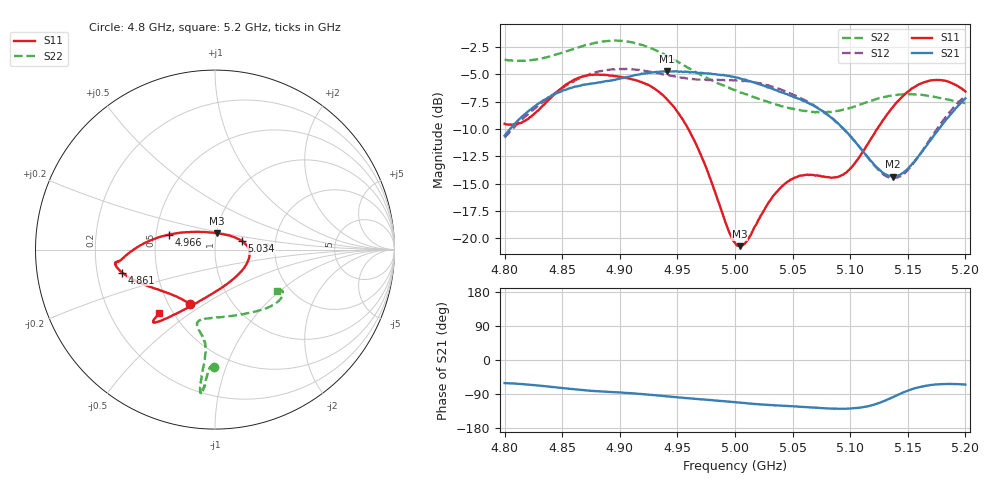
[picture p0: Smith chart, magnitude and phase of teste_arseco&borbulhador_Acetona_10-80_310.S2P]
! Network Analyzer HP8722D
! Hewlett-Packard
! Data name: Linha & Wilkinson
! Saver's name: Rodrigo Anjos
! Comments: Teste da utilização de aquisição
! continua pelo VNA HP8722D
! Time and date: 17/4/2025 16:56
!  Frequency  S11  S21  S12  S22
# HZ  S  MA R 50
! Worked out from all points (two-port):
!   401 points, 4.8 GHz to 5.2 GHz, reference 50 ohm
!   highest |S21| = -4.70 dB at 4.941 GHz (marker M1); lowest = -14.3 dB at 5.137 GHz (marker M2)
!   |S21| within 3 dB of the highest: 4.829 GHz to 5.065 GHz (236 MHz wide, 4.77 % of centre); 5.194974 GHz to end of sweep
!   lowest |S11| = -20.7 dB at 5.004 GHz (marker M3), VSWR 1.20, Z = 50.3 + j9.29 ohm
!   |S11| at or under -10 dB: 4.96 GHz to 5.123 GHz (163.8 MHz wide, 3.25 % of centre)
!   |S22| runs from -8.5 to -1.9 dB; largest |S21 - S12| = 0.87
!   S11 on the Smith chart (normalised r, x): 4.8 GHz: 0.64, -0.44; 4.861 GHz: 0.31, -0.11; 4.966 GHz: 0.58, +0.10; 5.034 GHz: 1.35, +0.13; 5.2 GHz: 0.42, -0.38
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4.8e9  0.3345 -114.3  0.2951 -61.0  0.2892 -175.2  0.6556 -90.3
4.819e9  0.3491 -134.3  0.3756 -64.6  0.364 -174.1  0.6504 -91.9
4.861e9  0.5338 -166.1  0.4952 -77.6  0.5273 -177.3  0.738 -94.3
4.867e9  0.5487 -168.5  0.502 -79.3  0.5462 -178.6  0.7558 -94.4
4.898e9  0.5501 -172.9  0.5356 -85.2  0.5941 175.2  0.8015 -95.6
4.934e9  0.4686 -178.7  0.5775 -93.9  0.5701 171.4  0.7133 -96.0
4.941e9  0.433 178.2  0.5818 -95.9  0.559 171.5  0.6846 -95.9
4.966e9  0.2713 162.2  0.5744 -102.4  0.5336 173.4  0.5759 -95.2
5e9  0.09561 97.7  0.5459 -111.4  0.5298 175.7  0.4762 -99.3
5.004e9  0.09224 82.8  0.5399 -112.6  0.5262 175.7  0.4669 -100.2
5.011e9  0.09867 59.0  0.527 -114.7  0.5244 175.5  0.4535 -101.7
5.034e9  0.1585 17.6  0.4797 -119.6  0.4921 174.4  0.4115 -103.3
5.05e9  0.1873 1.5  0.4458 -122.2  0.4552 173.8  0.3926 -99.3
5.067e9  0.1954 -16.9  0.4084 -125.3  0.4107 173.3  0.3787 -90.2
5.085e9  0.1899 -45.3  0.3522 -128.4  0.3517 173.5  0.3809 -76.4
5.097e9  0.2011 -69.4  0.3056 -128.5  0.3062 174.8  0.3915 -66.8
5.123e9  0.3147 -109.1  0.2114 -115.5  0.2103 -170.2  0.4349 -48.6
5.134e9  0.3805 -117.8  0.1935 -102.1  0.1891 -155.3  0.4485 -43.0
5.137e9  0.3983 -119.5  0.1917 -98.2  0.1886 -150.5  0.4516 -41.8
5.15e9  0.4687 -125.2  0.2083 -81.1  0.2054 -130.9  0.4567 -36.9
5.17e9  0.5279 -129.8  0.2828 -66.0  0.2882 -112.3  0.4472 -32.3
5.2e9  0.47 -131.2  0.4374 -65.0  0.4497 -107.0  0.4153 -33.8
